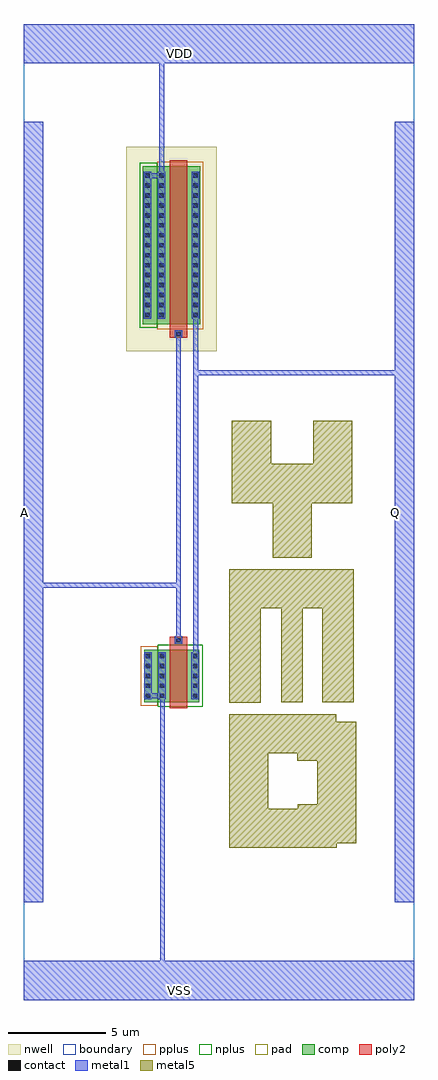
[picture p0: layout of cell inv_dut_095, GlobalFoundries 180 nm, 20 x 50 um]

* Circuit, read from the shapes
.subckt inv_dut_095 A Q VDD VSS
XM1 Q A VSS VSS nfet_03v3 w=2.7u l=0.9u
XM2 Q A VDD VDD pfet_03v3 w=8.1u l=0.9u
.ends

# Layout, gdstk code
from math import pi, radians
import gdstk
lib = gdstk.Library(unit=1e-6, precision=1e-09)
def R(c, l, rs):  # rectangles x0, y0, x1, y1
    for r in rs: c.add(gdstk.rectangle(r[:2], r[2:], *l))
def A(c, l, x, y, w, h, nx, ny, dx, dy):  # array of equal rectangles
    R(c, l, [(x+i*dx, y+j*dy, x+i*dx+w, y+j*dy+h) for i in range(nx) for j in range(ny)])
boundary = (0, 0)
nwell = (21, 0)
comp = (22, 0)
poly2 = (30, 0)
pplus = (31, 0)
nplus = (32, 0)
contact = (33, 0)
metal1 = (34, 0)
pad = (37, 0)
metal5 = (81, 0)

pfet = lib.new_cell('pfet')
R(pfet, nwell, [(-1.32,-0.99,3.33,9.47)])
R(pfet, comp, [(-0.46,0,2.47,8.1)])
R(pfet, poly2, [(0.19,-0.3,1.09,8.78)])
R(pfet, pplus, [(-0.63,-0.24,1.74,8.34)])
R(pfet, nplus, [(1.74,-0.17,2.64,8.27)])
A(pfet, contact, -0.34, 0.37, 0.22, 0.22, 1, 15, 0, 0.51)
A(pfet, contact, 1.4, 0.37, 0.22, 0.22, 1, 15, 0, 0.51)
A(pfet, contact, 2.13, 0.37, 0.22, 0.22, 1, 15, 0, 0.51)
R(pfet, contact, [(0.53,8.48,0.75,8.7)])
R(pfet, metal1, [(-0.42,0.29,-0.04,7.81), (1.32,0.29,1.7,7.81), (2.05,0.29,2.43,7.81), (0.45,8.4,0.83,8.78)])

nfet = lib.new_cell('nfet')
R(nfet, comp, [(-0.42,0,2.41,2.7)])
R(nfet, poly2, [(0.19,-0.3,1.09,3.36)])
R(nfet, pplus, [(1.7,-0.17,2.58,2.87)])
R(nfet, nplus, [(-0.59,-0.24,1.7,2.94)])
A(nfet, contact, -0.32, 0.22, 0.22, 0.22, 1, 5, 0, 0.51)
A(nfet, contact, 1.38, 0.22, 0.22, 0.22, 1, 5, 0, 0.51)
A(nfet, contact, 2.09, 0.22, 0.22, 0.22, 1, 5, 0, 0.51)
R(nfet, contact, [(0.53,3.07,0.75,3.29)])
R(nfet, metal1, [(-0.4,0.14,-0.02,2.56), (1.3,0.14,1.68,2.56), (2.01,0.14,2.39,2.56), (0.45,2.99,0.83,3.37)])

inv_dut_095 = lib.new_cell('inv_dut_095')
R(inv_dut_095, boundary, [(-10,-25,10,25)])
R(inv_dut_095, metal1, [(-10,-25,10,-23), (-10,-20,-9,20), (9,-20,10,20), (-10,23,10,25)])
inv_dut_095.add(gdstk.FlexPath([(-2.075,9.255),(-2.075,-6.705)], 0.25, ends="flush", simple_path=True, layer=34, datatype=0))  # metal1
inv_dut_095.add(gdstk.FlexPath([(-1.2,10.24),(-1.2,-7.515),(-1.2,-7.515)], 0.25, ends="flush", simple_path=True, layer=34, datatype=0))  # metal1
inv_dut_095.add(gdstk.FlexPath([(-3.795,17.235),(-2.94,17.235),(-2.94,23.225),(-2.94,23.225)], 0.25, ends="flush", simple_path=True, layer=34, datatype=0))  # metal1
inv_dut_095.add(gdstk.FlexPath([(-3.77,-9.41),(-2.895,-9.41),(-2.895,-23.65)], 0.25, ends="flush", simple_path=True, layer=34, datatype=0))  # metal1
inv_dut_095.add(gdstk.FlexPath([(-9.245,-3.75),(-1.995,-3.75)], 0.25, ends="flush", simple_path=True, layer=34, datatype=0))  # metal1
inv_dut_095.add(gdstk.FlexPath([(9.47,7.135),(-1.25,7.135)], 0.25, ends="flush", simple_path=True, layer=34, datatype=0))  # metal1
inv_dut_095.add(gdstk.FlexPath([(1.665,4.665),(1.665,1.46),(5.835,1.46),(5.835,4.665)], 2, ends="flush", simple_path=True, layer=81, datatype=0))  # metal5
inv_dut_095.add(gdstk.FlexPath([(3.745,1.47),(3.745,-2.335)], 2, ends="flush", simple_path=True, layer=81, datatype=0))  # metal5
inv_dut_095.add(gdstk.FlexPath([(1.535,-10.37),(1.535,-16.2),(5.035,-16.2),(5.035,-15.965),(6.035,-15.965),(6.035,-11.735),(5,-11.735),(5,-11.37),(0.865,-11.37)], 2, ends="flush", simple_path=True, layer=81, datatype=0))  # metal5
inv_dut_095.add(gdstk.FlexPath([(3.73,-9.75),(3.73,-4.685)], 1.1, ends="flush", simple_path=True, layer=81, datatype=0))  # metal5
inv_dut_095.add(gdstk.FlexPath([(0.535,-3.935),(6.9,-3.935)], 2, ends="flush", simple_path=True, layer=81, datatype=0))  # metal5
inv_dut_095.add(gdstk.FlexPath([(1.335,-3.935),(1.335,-9.765)], 1.6, ends="flush", simple_path=True, layer=81, datatype=0))  # metal5
inv_dut_095.add(gdstk.FlexPath([(6.1,-3.935),(6.1,-9.735)], 1.6, ends="flush", simple_path=True, layer=81, datatype=0))  # metal5
inv_dut_095.add(gdstk.FlexPath([(1.665,4.665),(1.665,1.46),(5.835,1.46),(5.835,4.665)], 2, ends="flush", simple_path=True, layer=37, datatype=0))  # pad
inv_dut_095.add(gdstk.FlexPath([(3.745,1.47),(3.745,-2.335)], 2, ends="flush", simple_path=True, layer=37, datatype=0))  # pad
inv_dut_095.add(gdstk.FlexPath([(0.535,-3.935),(6.9,-3.935)], 2, ends="flush", simple_path=True, layer=37, datatype=0))  # pad
inv_dut_095.add(gdstk.FlexPath([(1.535,-10.37),(1.535,-16.2),(5.035,-16.2),(5.035,-15.965),(6.035,-15.965),(6.035,-11.735),(5,-11.735),(5,-11.37),(0.865,-11.37)], 2, ends="flush", simple_path=True, layer=37, datatype=0))  # pad
inv_dut_095.add(gdstk.FlexPath([(6.1,-9.735),(6.1,-3.94)], 1.6, ends="flush", simple_path=True, layer=37, datatype=0))  # pad
inv_dut_095.add(gdstk.FlexPath([(1.335,-9.765),(1.335,-3.935)], 1.6, ends="flush", simple_path=True, layer=37, datatype=0))  # pad
inv_dut_095.add(gdstk.FlexPath([(3.73,-9.75),(3.73,-4.685)], 1.1, ends="flush", simple_path=True, layer=37, datatype=0))  # pad
inv_dut_095.add(gdstk.Reference(pfet, (-1.43,17.715), rotation=pi))
inv_dut_095.add(gdstk.Reference(nfet, (-1.43,-9.745), rotation=pi, x_reflection=True))
inv_dut_095.add(gdstk.Label('VDD', (-2,23.5), layer=34, texttype=10))
inv_dut_095.add(gdstk.Label('VSS', (-2,-24.5), layer=34, texttype=10))
inv_dut_095.add(gdstk.Label('A', (-9.97,0), layer=34, texttype=10))
inv_dut_095.add(gdstk.Label('Q', (9.03,0), layer=34, texttype=10))

lib.write_gds('inv_dut_095.gds')
